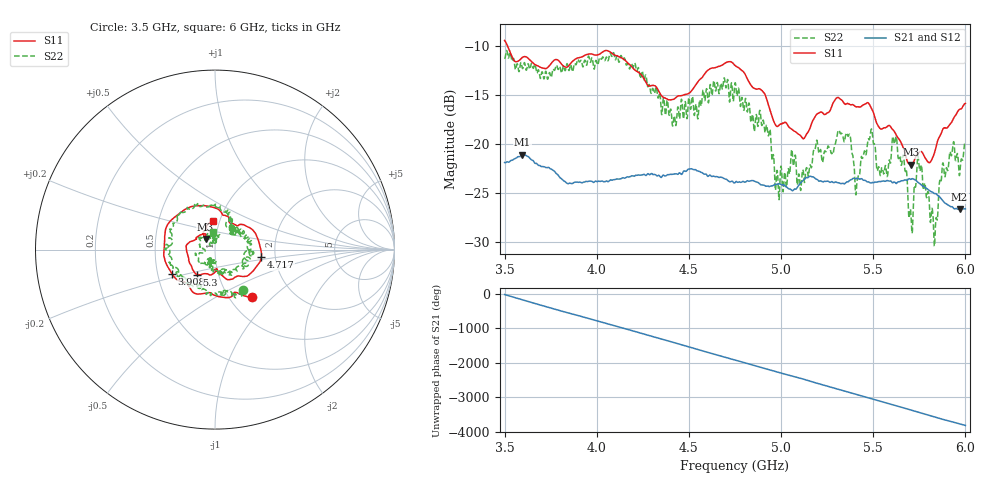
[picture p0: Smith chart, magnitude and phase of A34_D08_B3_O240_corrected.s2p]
! Created with skrf 1.9.0 (http://scikit-rf.org).
# Hz S RI R 50.0
!freq ReS11 ImS11 ReS21 ImS21 ReS12 ImS12 ReS22 ImS22
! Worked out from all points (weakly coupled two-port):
!   1601 points, 3.5 GHz to 6 GHz, reference 50 ohm
!   highest |S21| = -21.09 dB at 3.595 GHz (marker M1); lowest = -26.6 dB at 5.969 GHz (marker M2)
!   lowest |S11| = -22.1 dB at 5.706 GHz (marker M3), VSWR 1.17, Z = 44.7 + j5.29 ohm
!   |S11| at or under -10 dB: 3.515 GHz to end of sweep
!   |S22| runs from -30.4 to -10.5 dB; largest |S21 - S12| = 0.001
!   S11 on the Smith chart (normalised r, x): 3.5 GHz: 1.27, -0.76; 3.908 GHz: 0.59, -0.17; 4.717 GHz: 1.69, -0.15; 5.3 GHz: 0.79, -0.23; 6 GHz: 0.93, +0.31
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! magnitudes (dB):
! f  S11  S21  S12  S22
! 3.5 GHz  -9.5  -21.9  -21.9  -11.3
! 3.595 GHz  -11.2  -21.1  -21.1  -12.2
! 3.908 GHz  -11.2  -23.9  -23.8  -11.7
! 3.917 GHz  -11.2  -23.9  -23.9  -11.6
! 4.334 GHz  -14.6  -23.2  -23.1  -15.3
! 4.717 GHz  -11.6  -23.8  -23.9  -15.0
! 4.75 GHz  -12.0  -23.9  -23.8  -13.8
! 4.931 GHz  -16.0  -24.3  -24.2  -19.2
! 4.98 GHz  -18.2  -24.1  -24.1  -22.8
! 5.167 GHz  -17.8  -23.3  -23.3  -22.2
! 5.3 GHz  -15.3  -23.9  -23.8  -19.5
! 5.367 GHz  -15.9  -23.8  -23.7  -19.1
! 5.412 GHz  -16.2  -23.5  -23.5  -23.8
! 5.484 GHz  -16.2  -23.9  -23.9  -19.0
! 5.584 GHz  -18.1  -23.8  -23.7  -21.9
! 5.619 GHz  -18.9  -23.9  -23.9  -19.7
! 5.706 GHz  -22.1  -23.6  -23.5  -27.7
! 5.75 GHz  -20.8  -24.0  -23.9  -22.6
! 5.838 GHz  -20.5  -25.0  -25.0  -28.3
! 5.87 GHz  -18.8  -25.6  -25.5  -23.5
! 5.969 GHz  -16.5  -26.6  -26.6  -23.2
! 6 GHz  -15.9  -26.6  -26.5  -20.0
